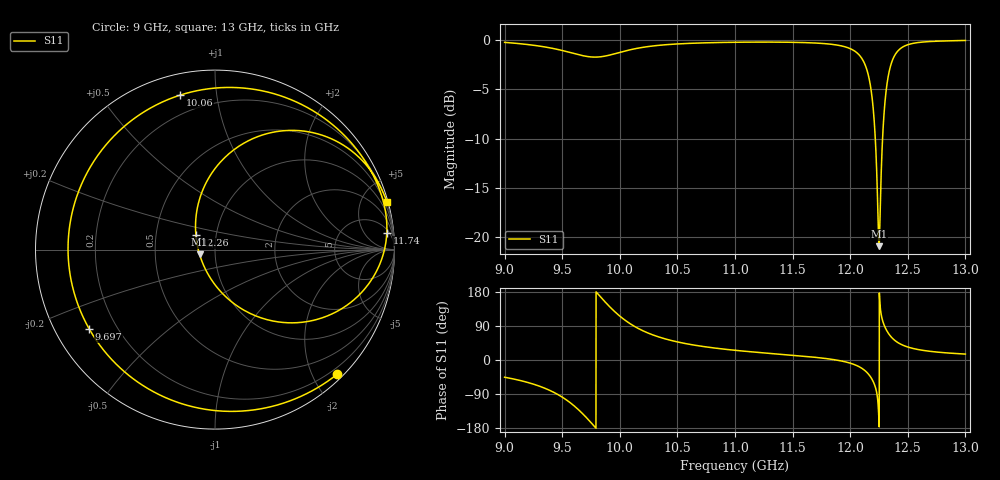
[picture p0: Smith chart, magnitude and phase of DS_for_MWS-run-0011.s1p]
! TOUCHSTONE file generated by CST DESIGN STUDIO
! Date and time: Tue Feb  4 14:19:33 2025
! Project name: C:\Work\MatlabApps\UnitCellOptimizationMatlab\CST\unitcell.cst
! Tree item: Tasks\Sweep1\SPara1\S-Parameters
! Header version: 2024
! Port assignment regex: !\s*Touchstone port\s*([0-9]+)\s*=\s*(CST MWS port|CST DES external port|CST DES block port)\s*(.+)\s* \(\"(.*)\"\)(\s*mode\s*([0-9]+))?.*
! Touchstone port assignment:
! Touchstone port 1 = CST DES external port 1 ("")
# GHz S MA R 50
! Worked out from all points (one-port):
!   4001 points, 9 GHz to 13 GHz, reference 50 ohm
!   lowest |S11| = -20.9 dB at 12.25 GHz (marker M1), VSWR 1.20, Z = 42 - j2.29 ohm
!   |S11| at or under -10 dB: 12.22 GHz to 12.28 GHz (63.08 MHz wide, 0.515 % of centre)
!   S11 on the Smith chart (normalised r, x): 9 GHz: 0.09, -2.38; 9.697 GHz: 0.10, -0.29; 10.06 GHz: 0.10, +0.79; 11.74 GHz: 7, +18; 12.26 GHz: 0.80, +0.13; 13 GHz: 0.15, +7.29
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9  0.9725 -45.4
9.276  0.936 -66.3
9.5  0.8846 -97.9
9.602  0.8539 -120.7
9.697  0.8285 -147.8
9.768  0.8191 -171.3
9.835  0.822 165.7
9.921  0.8408 137.8
10  0.8651 115.8
10.056  0.8823 102.7
10.26  0.9285 69.3
10.5  0.9549 47.7
11  0.9737 25.6
11.5  0.9732 12.5
11.741  0.9619 5.6
12  0.9039 -8.3
12.1  0.8079 -21.7
12.17  0.6125 -41.7
12.211  0.3695 -64.9
12.237  0.1582 -100.0
12.25  0.08993 -162.5
12.26  0.1345 142.4
12.296  0.4407 91.0
12.341  0.703 66.4
12.41  0.8746 46.7
12.5  0.9461 34.3
12.672  0.9805 23.7
13  0.9945 15.6
